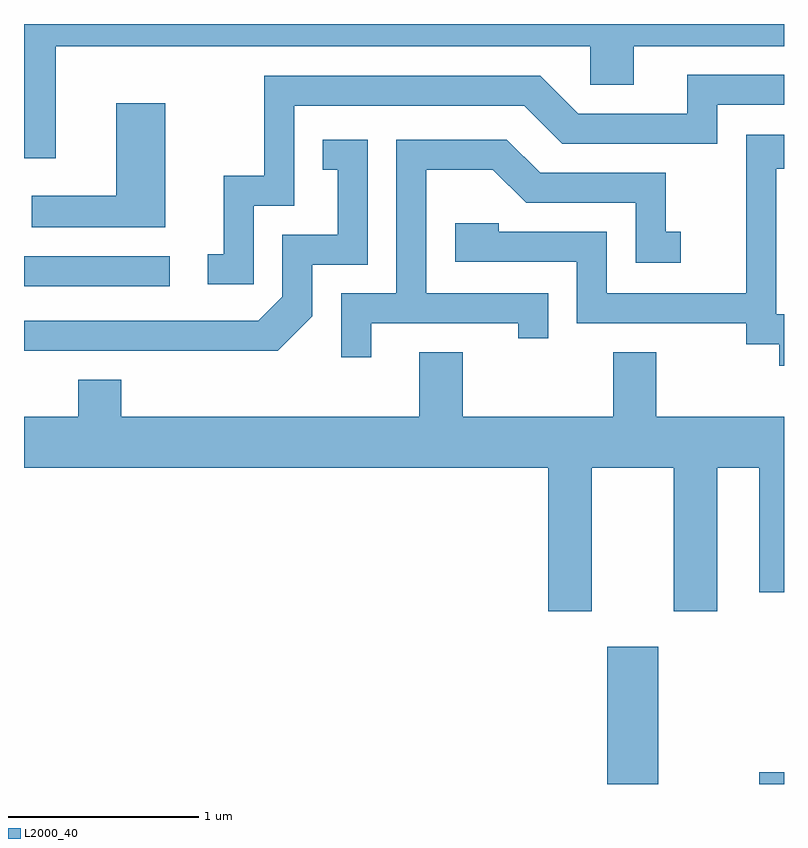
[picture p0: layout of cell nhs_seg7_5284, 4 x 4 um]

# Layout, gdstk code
import gdstk
lib = gdstk.Library(unit=1e-6, precision=1e-09)
def R(c, l, rs):  # rectangles x0, y0, x1, y1
    for r in rs: c.add(gdstk.rectangle(r[:2], r[2:], *l))
def P(c, l, *ps):  # polygons
    for p in ps: c.add(gdstk.Polygon(p, *l))
L2000_40 = (2000, 40)

nhs_seg7_5284 = lib.new_cell('nhs_seg7_5284')
R(nhs_seg7_5284, L2000_40, [(350.681,1668.252,350.949,1668.974), (351.481,1668.252,351.611,1668.314), (347.611,1670.871,348.378,1671.029)])
P(nhs_seg7_5284, L2000_40, [(347.779,1672.136),(350.591,1672.136),(350.591,1671.931),(350.819,1671.931),(350.819,1672.136),(351.611,1672.136),(351.611,1672.252),(347.611,1672.252),(347.611,1671.546),(347.779,1671.546)],
  [(348.819,1671.296),(349.034,1671.296),(349.034,1671.821),(350.244,1671.821),(350.444,1671.621),(351.259,1671.621),(351.259,1671.826),(351.611,1671.826),(351.611,1671.984),(351.101,1671.984),(351.101,1671.779),(350.527,1671.779),(350.327,1671.979),(348.876,1671.979),(348.876,1671.454),(348.661,1671.454),(348.661,1671.039),(348.578,1671.039),(348.578,1670.881),(348.819,1670.881)],
  [(348.354,1671.834),(348.096,1671.834),(348.096,1671.349),(347.653,1671.349),(347.653,1671.181),(348.354,1671.181)],
  [(351.611,1670.724),(351.569,1670.724),(351.569,1671.491),(351.611,1671.491),(351.611,1671.669),(351.411,1671.669),(351.411,1670.834),(350.679,1670.834),(350.679,1671.159),(350.109,1671.159),(350.109,1671.204),(349.881,1671.204),(349.881,1671.001),(350.521,1671.001),(350.521,1670.676),(351.411,1670.676),(351.411,1670.566),(351.586,1670.566),(351.586,1670.453),(351.611,1670.453)],
  [(349.439,1670.676),(350.211,1670.676),(350.211,1670.598),(350.369,1670.598),(350.369,1670.834),(349.729,1670.834),(349.729,1671.486),(350.079,1671.486),(350.254,1671.311),(350.831,1671.311),(350.831,1670.996),(351.068,1670.996),(351.068,1671.159),(350.989,1671.159),(350.989,1671.469),(350.327,1671.469),(350.152,1671.644),(349.571,1671.644),(349.571,1670.834),(349.281,1670.834),(349.281,1670.498),(349.439,1670.498)],
  [(349.129,1670.714),(349.129,1670.986),(349.419,1670.986),(349.419,1671.644),(349.183,1671.644),(349.183,1671.486),(349.261,1671.486),(349.261,1671.144),(348.971,1671.144),(348.971,1670.817),(348.844,1670.689),(347.611,1670.689),(347.611,1670.531),(348.947,1670.531)],
  [(350.599,1669.916),(351.031,1669.916),(351.031,1669.161),(351.259,1669.161),(351.259,1669.916),(351.481,1669.916),(351.481,1669.261),(351.611,1669.261),(351.611,1670.184),(350.939,1670.184),(350.939,1670.524),(350.711,1670.524),(350.711,1670.184),(349.919,1670.184),(349.919,1670.524),(349.691,1670.524),(349.691,1670.184),(348.124,1670.184),(348.124,1670.379),(347.896,1670.379),(347.896,1670.184),(347.611,1670.184),(347.611,1669.916),(350.371,1669.916),(350.371,1669.161),(350.599,1669.161)])

lib.write_gds('nhs_seg7_5284.gds')
